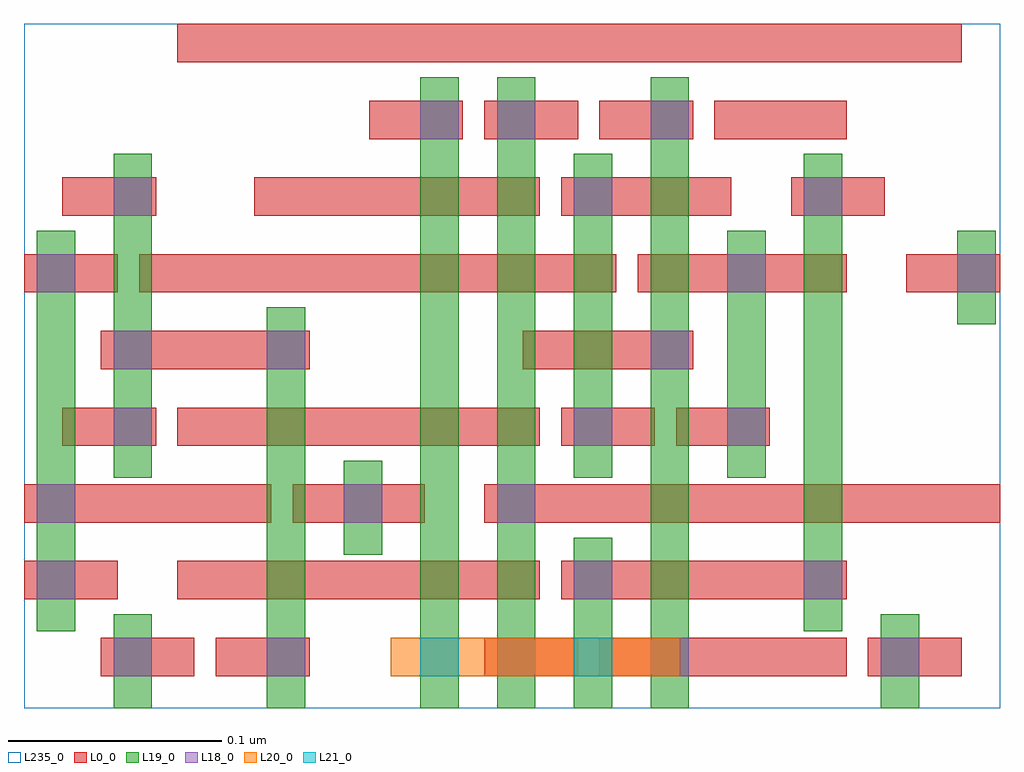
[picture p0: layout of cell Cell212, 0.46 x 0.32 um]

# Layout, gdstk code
import gdstk
lib = gdstk.Library(unit=1e-6, precision=2.5e-10)
def R(c, l, rs):  # rectangles x0, y0, x1, y1
    for r in rs: c.add(gdstk.rectangle(r[:2], r[2:], *l))
def A(c, l, x, y, w, h, nx, ny, dx, dy):  # array of equal rectangles
    R(c, l, [(x+i*dx, y+j*dy, x+i*dx+w, y+j*dy+h) for i in range(nx) for j in range(ny)])
L0_0 = (0, 0)
L18_0 = (18, 0)
L19_0 = (19, 0)
L20_0 = (20, 0)
L21_0 = (21, 0)
L235_0 = (235, 0)

cell212 = lib.new_cell('Cell212')
A(cell212, L0_0, 0.166, 0.251, 0.044, 0.018, 3, 1, 0.054, 0)
R(cell212, L0_0, [(0.04,-0.001,0.084,0.017), (0.094,-0.001,0.138,0.017), (0.22,-0.001,0.264,0.017), (0.274,-0.001,0.39,0.017), (0.4,-0.001,0.444,0.017), (0.004,0.035,0.048,0.053), (0.076,0.035,0.246,0.053), (0.256,0.035,0.39,0.053), (0.004,0.071,0.12,0.089), (0.13,0.071,0.192,0.089), (0.22,0.071,0.462,0.089), (0.022,0.107,0.066,0.125), (0.076,0.107,0.246,0.125), (0.256,0.107,0.3,0.125), (0.31,0.107,0.354,0.125), (0.04,0.143,0.138,0.161), (0.238,0.143,0.318,0.161), (0.004,0.179,0.048,0.197), (0.058,0.179,0.282,0.197), (0.292,0.179,0.39,0.197), (0.418,0.179,0.462,0.197), (0.022,0.215,0.066,0.233), (0.112,0.215,0.246,0.233), (0.256,0.215,0.336,0.233), (0.364,0.215,0.408,0.233), (0.328,0.251,0.39,0.269), (0.076,0.287,0.444,0.305)])
R(cell212, L18_0, [(0.046,-0.001,0.064,0.017), (0.118,-0.001,0.136,0.017), (0.226,-0.001,0.244,0.017), (0.298,-0.001,0.316,0.017), (0.406,-0.001,0.424,0.017), (0.01,0.035,0.028,0.053), (0.262,0.035,0.28,0.053), (0.37,0.035,0.388,0.053), (0.01,0.071,0.028,0.089), (0.154,0.071,0.172,0.089), (0.226,0.071,0.244,0.089), (0.046,0.107,0.064,0.125), (0.262,0.107,0.28,0.125), (0.334,0.107,0.352,0.125), (0.046,0.143,0.064,0.161), (0.118,0.143,0.136,0.161), (0.298,0.143,0.316,0.161), (0.01,0.179,0.028,0.197), (0.334,0.179,0.352,0.197), (0.442,0.179,0.46,0.197), (0.046,0.215,0.064,0.233), (0.262,0.215,0.28,0.233), (0.37,0.215,0.388,0.233), (0.19,0.251,0.208,0.269), (0.226,0.251,0.244,0.269), (0.298,0.251,0.316,0.269)])
R(cell212, L19_0, [(0.046,-0.016,0.064,0.028), (0.118,-0.016,0.136,0.172), (0.19,-0.016,0.208,0.28), (0.226,-0.016,0.244,0.28), (0.262,-0.016,0.28,0.064), (0.298,-0.016,0.316,0.28), (0.406,-0.016,0.424,0.028), (0.01,0.02,0.028,0.208), (0.37,0.02,0.388,0.244), (0.154,0.056,0.172,0.1), (0.046,0.092,0.064,0.244), (0.262,0.092,0.28,0.244), (0.334,0.092,0.352,0.208), (0.442,0.164,0.46,0.208)])
R(cell212, L20_0, [(0.176,-0.001,0.312,0.017)])
R(cell212, L21_0, [(0.19,-0.001,0.208,0.017), (0.262,-0.001,0.28,0.017)])
R(cell212, L235_0, [(0.004,-0.016,0.462,0.305)])

lib.write_gds('Cell212.gds')
